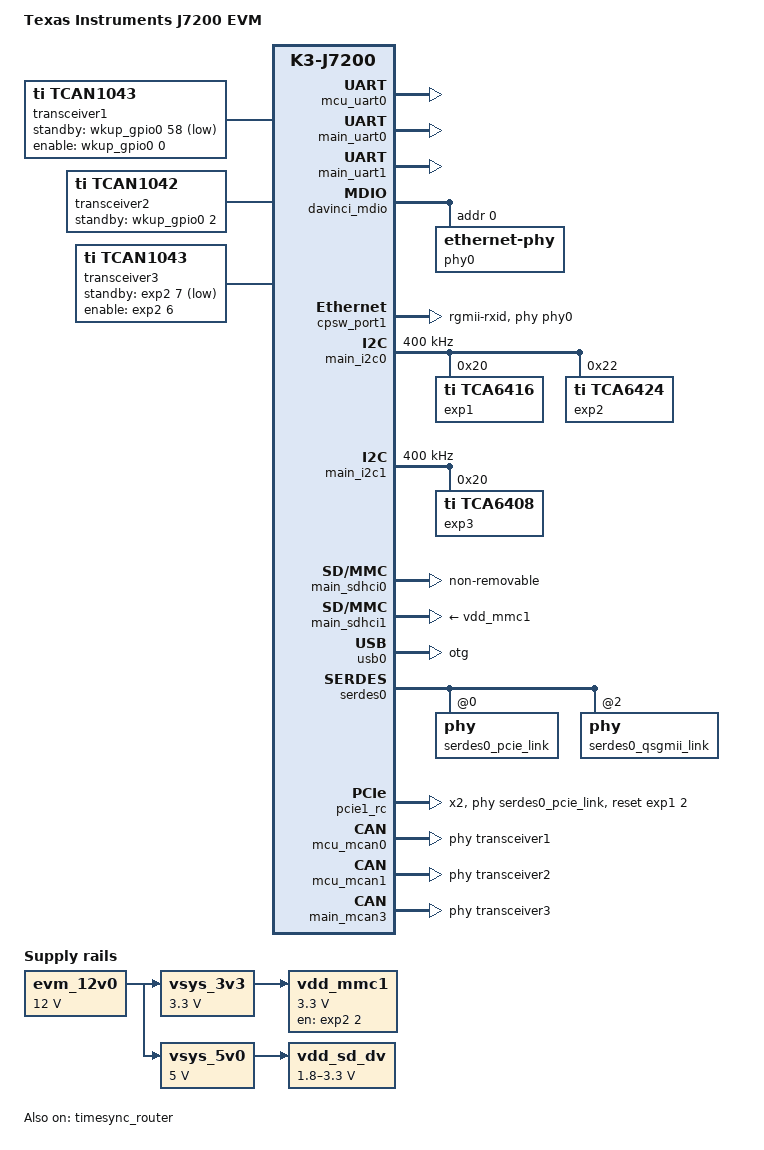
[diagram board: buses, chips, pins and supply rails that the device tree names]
// SPDX-License-Identifier: GPL-2.0
/*
 * Copyright (C) 2020 Texas Instruments Incorporated - https://www.ti.com/
 */

/dts-v1/;

#include "k3-j7200-som-p0.dtsi"
#include <dt-bindings/gpio/gpio.h>
#include <dt-bindings/net/ti-dp83867.h>
#include <dt-bindings/mux/ti-serdes.h>
#include <dt-bindings/phy/phy.h>

/ {
	compatible = "ti,j7200-evm", "ti,j7200";
	model = "Texas Instruments J7200 EVM";

	chosen {
		stdout-path = "serial2:115200n8";
		bootargs = "console=ttyS2,115200n8 earlycon=ns16550a,mmio32,0x02800000";
	};

	evm_12v0: fixedregulator-evm12v0 {
		/* main supply */
		compatible = "regulator-fixed";
		regulator-name = "evm_12v0";
		regulator-min-microvolt = <12000000>;
		regulator-max-microvolt = <12000000>;
		regulator-always-on;
		regulator-boot-on;
	};

	vsys_3v3: fixedregulator-vsys3v3 {
		/* Output of LM5140 */
		compatible = "regulator-fixed";
		regulator-name = "vsys_3v3";
		regulator-min-microvolt = <3300000>;
		regulator-max-microvolt = <3300000>;
		vin-supply = <&evm_12v0>;
		regulator-always-on;
		regulator-boot-on;
	};

	vsys_5v0: fixedregulator-vsys5v0 {
		/* Output of LM5140 */
		compatible = "regulator-fixed";
		regulator-name = "vsys_5v0";
		regulator-min-microvolt = <5000000>;
		regulator-max-microvolt = <5000000>;
		vin-supply = <&evm_12v0>;
		regulator-always-on;
		regulator-boot-on;
	};

	vdd_mmc1: fixedregulator-sd {
		/* Output of TPS22918 */
		compatible = "regulator-fixed";
		regulator-name = "vdd_mmc1";
		regulator-min-microvolt = <3300000>;
		regulator-max-microvolt = <3300000>;
		regulator-boot-on;
		enable-active-high;
		vin-supply = <&vsys_3v3>;
		gpio = <&exp2 2 GPIO_ACTIVE_HIGH>;
	};

	vdd_sd_dv: gpio-regulator-TLV71033 {
		/* Output of TLV71033 */
		compatible = "regulator-gpio";
		regulator-name = "tlv71033";
		pinctrl-names = "default";
		pinctrl-0 = <&vdd_sd_dv_pins_default>;
		regulator-min-microvolt = <1800000>;
		regulator-max-microvolt = <3300000>;
		regulator-boot-on;
		vin-supply = <&vsys_5v0>;
		gpios = <&main_gpio0 55 GPIO_ACTIVE_HIGH>;
		states = <1800000 0x0>,
			 <3300000 0x1>;
	};

	transceiver1: can-phy1 {
		compatible = "ti,tcan1043";
		#phy-cells = <0>;
		max-bitrate = <5000000>;
		pinctrl-names = "default";
		pinctrl-0 = <&mcu_mcan0_gpio_pins_default>;
		standby-gpios = <&wkup_gpio0 58 GPIO_ACTIVE_LOW>;
		enable-gpios = <&wkup_gpio0 0 GPIO_ACTIVE_HIGH>;
	};

	transceiver2: can-phy2 {
		compatible = "ti,tcan1042";
		#phy-cells = <0>;
		max-bitrate = <5000000>;
		pinctrl-names = "default";
		pinctrl-0 = <&mcu_mcan1_gpio_pins_default>;
		standby-gpios = <&wkup_gpio0 2 GPIO_ACTIVE_HIGH>;
	};

	transceiver3: can-phy3 {
		compatible = "ti,tcan1043";
		#phy-cells = <0>;
		max-bitrate = <5000000>;
		standby-gpios = <&exp2 7 GPIO_ACTIVE_LOW>;
		enable-gpios = <&exp2 6 GPIO_ACTIVE_HIGH>;
		mux-states = <&mux0 1>;
	};
};

&wkup_pmx0{
	mcu_uart0_pins_default: mcu-uart0-pins-default {
		pinctrl-single,pins = <
			J721E_WKUP_IOPAD(0xf8, PIN_INPUT, 0) /* (E20) WKUP_GPIO0_14.MCU_UART0_CTSn */
			J721E_WKUP_IOPAD(0xfc, PIN_OUTPUT, 0) /* (E21) WKUP_GPIO0_15.MCU_UART0_RTSn */
			J721E_WKUP_IOPAD(0xf4, PIN_INPUT, 0) /* (D20) WKUP_GPIO0_13.MCU_UART0_RXD */
			J721E_WKUP_IOPAD(0xf0, PIN_OUTPUT, 0) /* (D19) WKUP_GPIO0_12.MCU_UART0_TXD */
		>;
	};

	wkup_uart0_pins_default: wkup-uart0-pins-default {
		pinctrl-single,pins = <
			J721E_WKUP_IOPAD(0xd8, PIN_INPUT, 0) /* (C14) WKUP_GPIO0_6.WKUP_UART0_CTSn */
			J721E_WKUP_IOPAD(0xdc, PIN_OUTPUT, 0) /* (C18) WKUP_GPIO0_7.WKUP_UART0_RTSn */
			J721E_WKUP_IOPAD(0xb0, PIN_INPUT, 0) /* (B14) WKUP_UART0_RXD */
			J721E_WKUP_IOPAD(0xb4, PIN_OUTPUT, 0) /* (A14) WKUP_UART0_TXD */
		>;
	};
};

&wkup_pmx2 {
	mcu_cpsw_pins_default: mcu-cpsw-pins-default {
		pinctrl-single,pins = <
			J721E_WKUP_IOPAD(0x0000, PIN_OUTPUT, 0) /* MCU_RGMII1_TX_CTL */
			J721E_WKUP_IOPAD(0x0004, PIN_INPUT, 0) /* MCU_RGMII1_RX_CTL */
			J721E_WKUP_IOPAD(0x0008, PIN_OUTPUT, 0) /* MCU_RGMII1_TD3 */
			J721E_WKUP_IOPAD(0x000c, PIN_OUTPUT, 0) /* MCU_RGMII1_TD2 */
			J721E_WKUP_IOPAD(0x0010, PIN_OUTPUT, 0) /* MCU_RGMII1_TD1 */
			J721E_WKUP_IOPAD(0x0014, PIN_OUTPUT, 0) /* MCU_RGMII1_TD0 */
			J721E_WKUP_IOPAD(0x0020, PIN_INPUT, 0) /* MCU_RGMII1_RD3 */
			J721E_WKUP_IOPAD(0x0024, PIN_INPUT, 0) /* MCU_RGMII1_RD2 */
			J721E_WKUP_IOPAD(0x0028, PIN_INPUT, 0) /* MCU_RGMII1_RD1 */
			J721E_WKUP_IOPAD(0x002c, PIN_INPUT, 0) /* MCU_RGMII1_RD0 */
			J721E_WKUP_IOPAD(0x0018, PIN_OUTPUT, 0) /* MCU_RGMII1_TXC */
			J721E_WKUP_IOPAD(0x001c, PIN_INPUT, 0) /* MCU_RGMII1_RXC */
		>;
	};

	wkup_gpio_pins_default: wkup-gpio-pins-default {
		pinctrl-single,pins = <
			J721E_WKUP_IOPAD(0x70, PIN_INPUT, 7) /* (C14) WKUP_GPIO0_6 */
		>;
	};

	mcu_mdio_pins_default: mcu-mdio1-pins-default {
		pinctrl-single,pins = <
			J721E_WKUP_IOPAD(0x0034, PIN_OUTPUT, 0) /* (L1) MCU_MDIO0_MDC */
			J721E_WKUP_IOPAD(0x0030, PIN_INPUT, 0) /* (L4) MCU_MDIO0_MDIO */
		>;
	};

	mcu_mcan0_pins_default: mcu-mcan0-default-pins {
		pinctrl-single,pins = <
			J721E_WKUP_IOPAD(0x54, PIN_INPUT, 0) /* (A17) MCU_MCAN0_RX */
			J721E_WKUP_IOPAD(0x50, PIN_OUTPUT, 0) /* (A16) MCU_MCAN0_TX */
		>;
	};

	mcu_mcan1_pins_default: mcu-mcan1-default-pins {
		pinctrl-single,pins = <
			J721E_WKUP_IOPAD(0x6c, PIN_INPUT, 0) /* (B16) WKUP_GPIO0_5.MCU_MCAN1_RX */
			J721E_WKUP_IOPAD(0x68, PIN_OUTPUT, 0) /* (D13) WKUP_GPIO0_4.MCU_MCAN1_TX */
		>;
	};

	mcu_mcan0_gpio_pins_default: mcu-mcan0-gpio-default-pins {
		pinctrl-single,pins = <
			J721E_WKUP_IOPAD(0x58, PIN_INPUT, 7) /* (B18) WKUP_GPIO0_0 */
			J721E_WKUP_IOPAD(0x40, PIN_INPUT, 7) /* (B17) MCU_SPI0_D1 */
		>;
	};

	mcu_mcan1_gpio_pins_default: mcu-mcan1-gpio-default-pins {
		pinctrl-single,pins = <
			J721E_WKUP_IOPAD(0x60, PIN_INPUT, 7) /* (D14) WKUP_GPIO0_2 */
		>;
	};
};

&main_pmx0 {
	main_i2c0_pins_default: main-i2c0-pins-default {
		pinctrl-single,pins = <
			J721E_IOPAD(0xd4, PIN_INPUT_PULLUP, 0) /* (V3) I2C0_SCL */
			J721E_IOPAD(0xd8, PIN_INPUT_PULLUP, 0) /* (W2) I2C0_SDA */
		>;
	};

	main_i2c1_pins_default: main-i2c1-pins-default {
		pinctrl-single,pins = <
			J721E_IOPAD(0xdc, PIN_INPUT_PULLUP, 3) /* (U3) ECAP0_IN_APWM_OUT.I2C1_SCL */
			J721E_IOPAD(0xe0, PIN_INPUT_PULLUP, 3) /* (T3) EXT_REFCLK1.I2C1_SDA */
		>;
	};

	main_mmc1_pins_default: main-mmc1-pins-default {
		pinctrl-single,pins = <
			J721E_IOPAD(0x104, PIN_INPUT, 0) /* (M20) MMC1_CMD */
			J721E_IOPAD(0x100, PIN_INPUT, 0) /* (P21) MMC1_CLK */
			J721E_IOPAD(0xfc, PIN_INPUT, 0) /* (P25) MMC1_CLKLB */
			J721E_IOPAD(0xf8, PIN_INPUT, 0) /* (M19) MMC1_DAT0 */
			J721E_IOPAD(0xf4, PIN_INPUT, 0) /* (N21) MMC1_DAT1 */
			J721E_IOPAD(0xf0, PIN_INPUT, 0) /* (N20) MMC1_DAT2 */
			J721E_IOPAD(0xec, PIN_INPUT, 0) /* (N19) MMC1_DAT3 */
			J721E_IOPAD(0xe4, PIN_INPUT, 8) /* (V1) TIMER_IO0.MMC1_SDCD */
		>;
	};

	vdd_sd_dv_pins_default: vdd-sd-dv-pins-default {
		pinctrl-single,pins = <
			J721E_IOPAD(0xd0, PIN_OUTPUT, 7) /* (T5) SPI0_D1.GPIO0_55 */
		>;
	};

	main_mcan3_pins_default: main-mcan3-default-pins {
		pinctrl-single,pins = <
			J721E_IOPAD(0x3c, PIN_INPUT, 0) /* (W16) MCAN3_RX */
			J721E_IOPAD(0x38, PIN_OUTPUT, 0) /* (Y21) MCAN3_TX */
		>;
	};
};

&main_pmx1 {
	main_usbss0_pins_default: main-usbss0-pins-default {
		pinctrl-single,pins = <
			J721E_IOPAD(0x04, PIN_OUTPUT, 0) /* (T4) USB0_DRVVBUS */
		>;
	};
};

&wkup_uart0 {
	/* Wakeup UART is used by System firmware */
	status = "reserved";
	pinctrl-names = "default";
	pinctrl-0 = <&wkup_uart0_pins_default>;
};

&mcu_uart0 {
	status = "okay";
	/* Default pinmux */
	pinctrl-names = "default";
	pinctrl-0 = <&mcu_uart0_pins_default>;
};

&main_uart0 {
	status = "okay";
	/* Shared with ATF on this platform */
	power-domains = <&k3_pds 146 TI_SCI_PD_SHARED>;
};

&main_uart1 {
	status = "okay";
	/* Default pinmux */
};

&main_uart2 {
	/* MAIN UART 2 is used by R5F firmware */
	status = "reserved";
};

&main_gpio2 {
	status = "disabled";
};

&main_gpio4 {
	status = "disabled";
};

&main_gpio6 {
	status = "disabled";
};

&wkup_gpio0 {
	pinctrl-names = "default";
	pinctrl-0 = <&wkup_gpio_pins_default>;
};

&wkup_gpio1 {
	status = "disabled";
};

&mcu_cpsw {
	pinctrl-names = "default";
	pinctrl-0 = <&mcu_cpsw_pins_default &mcu_mdio_pins_default>;

	cpts@3d000 {
		/* Map HW4_TS_PUSH to GENF1 */
		ti,pps = <3 1>;
	};
};

&davinci_mdio {
	phy0: ethernet-phy@0 {
		reg = <0>;
		ti,rx-internal-delay = <DP83867_RGMIIDCTL_2_00_NS>;
		ti,fifo-depth = <DP83867_PHYCR_FIFO_DEPTH_4_B_NIB>;
	};
};

&cpsw_port1 {
	phy-mode = "rgmii-rxid";
	phy-handle = <&phy0>;
};

&main_i2c0 {
	status = "okay";
	pinctrl-names = "default";
	pinctrl-0 = <&main_i2c0_pins_default>;
	clock-frequency = <400000>;

	exp1: gpio@20 {
		compatible = "ti,tca6416";
		reg = <0x20>;
		gpio-controller;
		#gpio-cells = <2>;
	};

	exp2: gpio@22 {
		compatible = "ti,tca6424";
		reg = <0x22>;
		gpio-controller;
		#gpio-cells = <2>;
	};
};

/*
 * The j7200 CPB board is identical to the CPB used for J721E, the SOMs can be
 * swapped on the CPB.
 *
 * main_i2c1 of J7200 is connected to the CPB i2c bus labeled as i2c3.
 * The i2c1 of the CPB (as it is labeled) is not connected to j7200.
 */
&main_i2c1 {
	status = "okay";
	pinctrl-names = "default";
	pinctrl-0 = <&main_i2c1_pins_default>;
	clock-frequency = <400000>;

	exp3: gpio@20 {
		compatible = "ti,tca6408";
		reg = <0x20>;
		gpio-controller;
		#gpio-cells = <2>;
		gpio-line-names = "CODEC_RSTz", "CODEC_SPARE1", "UB926_RESETn",
				  "UB926_LOCK", "UB926_PWR_SW_CNTRL",
				  "UB926_TUNER_RESET", "UB926_GPIO_SPARE", "";
	};
};

&main_sdhci0 {
	/* eMMC */
	non-removable;
	ti,driver-strength-ohm = <50>;
	disable-wp;
};

&main_sdhci1 {
	/* SD card */
	pinctrl-0 = <&main_mmc1_pins_default>;
	pinctrl-names = "default";
	vmmc-supply = <&vdd_mmc1>;
	vqmmc-supply = <&vdd_sd_dv>;
	ti,driver-strength-ohm = <50>;
	disable-wp;
};

&serdes_ln_ctrl {
	idle-states = <J7200_SERDES0_LANE0_PCIE1_LANE0>, <J7200_SERDES0_LANE1_PCIE1_LANE1>,
		      <J7200_SERDES0_LANE2_QSGMII_LANE1>, <J7200_SERDES0_LANE3_IP4_UNUSED>;
};

&usb_serdes_mux {
	idle-states = <1>; /* USB0 to SERDES lane 3 */
};

&usbss0 {
	pinctrl-names = "default";
	pinctrl-0 = <&main_usbss0_pins_default>;
	ti,vbus-divider;
	ti,usb2-only;
};

&usb0 {
	dr_mode = "otg";
	maximum-speed = "high-speed";
};

&tscadc0 {
	adc {
		ti,adc-channels = <0 1 2 3 4 5 6 7>;
	};
};

&serdes_refclk {
	clock-frequency = <100000000>;
};

&serdes0 {
	serdes0_pcie_link: phy@0 {
		reg = <0>;
		cdns,num-lanes = <2>;
		#phy-cells = <0>;
		cdns,phy-type = <PHY_TYPE_PCIE>;
		resets = <&serdes_wiz0 1>, <&serdes_wiz0 2>;
	};

	serdes0_qsgmii_link: phy@1 {
		reg = <2>;
		cdns,num-lanes = <1>;
		#phy-cells = <0>;
		cdns,phy-type = <PHY_TYPE_QSGMII>;
		resets = <&serdes_wiz0 3>;
	};
};

&pcie1_rc {
	reset-gpios = <&exp1 2 GPIO_ACTIVE_HIGH>;
	phys = <&serdes0_pcie_link>;
	phy-names = "pcie-phy";
	num-lanes = <2>;
};

&pcie1_ep {
	phys = <&serdes0_pcie_link>;
	phy-names = "pcie-phy";
	num-lanes = <2>;
	status = "disabled";
};

&mcu_mcan0 {
	status = "okay";
	pinctrl-names = "default";
	pinctrl-0 = <&mcu_mcan0_pins_default>;
	phys = <&transceiver1>;
};

&mcu_mcan1 {
	status = "okay";
	pinctrl-names = "default";
	pinctrl-0 = <&mcu_mcan1_pins_default>;
	phys = <&transceiver2>;
};

&main_mcan3 {
	status = "okay";
	pinctrl-names = "default";
	pinctrl-0 = <&main_mcan3_pins_default>;
	phys = <&transceiver3>;
};

#define K3_TS_OFFSET(pa, val)  (0x4+(pa)*4) (0x10000 | val)

&timesync_router {
	status = "okay";
	pinctrl-names = "default";
	pinctrl-0 = <&mcu_cpsw_cpts>;

	/* Use Time Sync Router to map GENF1 input to HW4_TS_PUSH output */
	mcu_cpsw_cpts: mcu-cpsw-cpts {
		pinctrl-single,pins = <
			/* pps [mcu cpsw cpts genf1] in17 -> out25 [mcu cpsw cpts hw4_push] */
			K3_TS_OFFSET(25, 17)
			>;
	};
};
